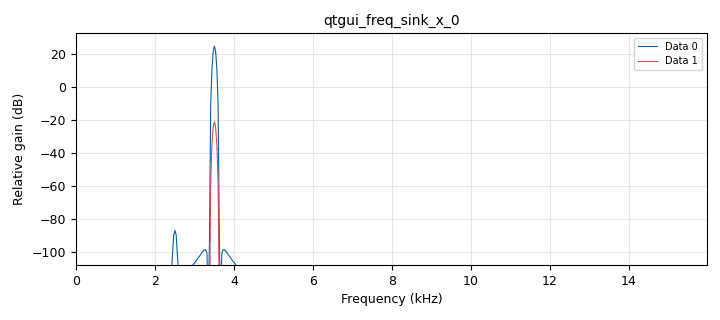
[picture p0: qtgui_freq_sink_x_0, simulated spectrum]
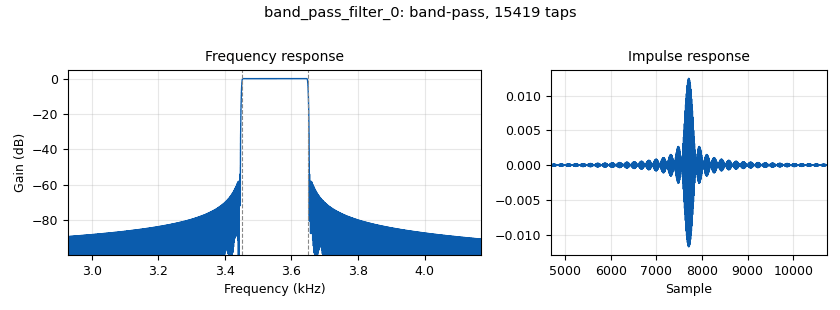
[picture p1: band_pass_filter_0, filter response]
<?xml version='1.0' encoding='utf-8'?>
<?grc format='1' created='3.7.8'?>
<flow_graph>
<block>
<key>options</key>
<param><key>id</key><value>top_block</value></param>
<param><key>category</key><value>Custom</value></param>
<param><key>generate_options</key><value>qt_gui</value></param>
</block>
<block>
<key>variable</key>
<param><key>id</key><value>samp_rate</value></param>
<param><key>value</key><value>32000</value></param>
</block>
<block>
<key>analog_sig_source_x</key>
<param><key>id</key><value>analog_sig_source_x_0</value></param>
<param><key>amp</key><value>1</value></param>
<param><key>freq</key><value>3000</value></param>
<param><key>offset</key><value>0</value></param>
<param><key>type</key><value>float</value></param>
<param><key>samp_rate</key><value>samp_rate</value></param>
<param><key>waveform</key><value>analog.GR_COS_WAVE</value></param>
</block>
<block>
<key>analog_sig_source_x</key>
<param><key>id</key><value>analog_sig_source_x_1</value></param>
<param><key>amp</key><value>1</value></param>
<param><key>freq</key><value>500</value></param>
<param><key>offset</key><value>0</value></param>
<param><key>type</key><value>float</value></param>
<param><key>samp_rate</key><value>samp_rate</value></param>
<param><key>waveform</key><value>analog.GR_COS_WAVE</value></param>
</block>
<block>
<key>band_pass_filter</key>
<param><key>id</key><value>band_pass_filter_0</value></param>
<param><key>decim</key><value>1</value></param>
<param><key>type</key><value>fir_filter_fff</value></param>
<param><key>gain</key><value>1</value></param>
<param><key>high_cutoff_freq</key><value>3650</value></param>
<param><key>low_cutoff_freq</key><value>3450</value></param>
<param><key>samp_rate</key><value>samp_rate</value></param>
<param><key>width</key><value>5</value></param>
<param><key>win</key><value>firdes.WIN_HAMMING</value></param>
</block>
<block>
<key>blocks_multiply_const_vxx</key>
<param><key>id</key><value>blocks_multiply_const_vxx_0</value></param>
<param><key>const</key><value>200</value></param>
<param><key>type</key><value>float</value></param>
</block>
<block>
<key>blocks_multiply_xx</key>
<param><key>id</key><value>blocks_multiply_xx_0</value></param>
<param><key>type</key><value>float</value></param>
</block>
<block>
<key>blocks_throttle</key>
<param><key>id</key><value>blocks_throttle_0</value></param>
<param><key>samples_per_second</key><value>samp_rate</value></param>
<param><key>type</key><value>float</value></param>
</block>
<block>
<key>qtgui_freq_sink_x</key>
<param><key>id</key><value>qtgui_freq_sink_x_0</value></param>
<param><key>autoscale</key><value>True</value></param>
<param><key>bw</key><value>samp_rate</value></param>
<param><key>fc</key><value>0</value></param>
<param><key>fftsize</key><value>1024</value></param>
<param><key>label2</key><value></value></param>
<param><key>nconnections</key><value>2</value></param>
<param><key>showports</key><value>True</value></param>
<param><key>freqhalf</key><value>False</value></param>
<param><key>type</key><value>float</value></param>
<param><key>wintype</key><value>firdes.WIN_BLACKMAN_hARRIS</value></param>
</block>
<connection><source_block_id>analog_sig_source_x_0</source_block_id><sink_block_id>blocks_multiply_xx_0</sink_block_id><source_key>0</source_key><sink_key>0</sink_key></connection>
<connection><source_block_id>analog_sig_source_x_1</source_block_id><sink_block_id>blocks_multiply_xx_0</sink_block_id><source_key>0</source_key><sink_key>1</sink_key></connection>
<connection><source_block_id>band_pass_filter_0</source_block_id><sink_block_id>blocks_multiply_const_vxx_0</sink_block_id><source_key>0</source_key><sink_key>0</sink_key></connection>
<connection><source_block_id>band_pass_filter_0</source_block_id><sink_block_id>qtgui_freq_sink_x_0</sink_block_id><source_key>0</source_key><sink_key>1</sink_key></connection>
<connection><source_block_id>blocks_multiply_const_vxx_0</source_block_id><sink_block_id>blocks_throttle_0</sink_block_id><source_key>0</source_key><sink_key>0</sink_key></connection>
<connection><source_block_id>blocks_multiply_xx_0</source_block_id><sink_block_id>band_pass_filter_0</sink_block_id><source_key>0</source_key><sink_key>0</sink_key></connection>
<connection><source_block_id>blocks_throttle_0</source_block_id><sink_block_id>qtgui_freq_sink_x_0</sink_block_id><source_key>0</source_key><sink_key>0</sink_key></connection>
</flow_graph>
